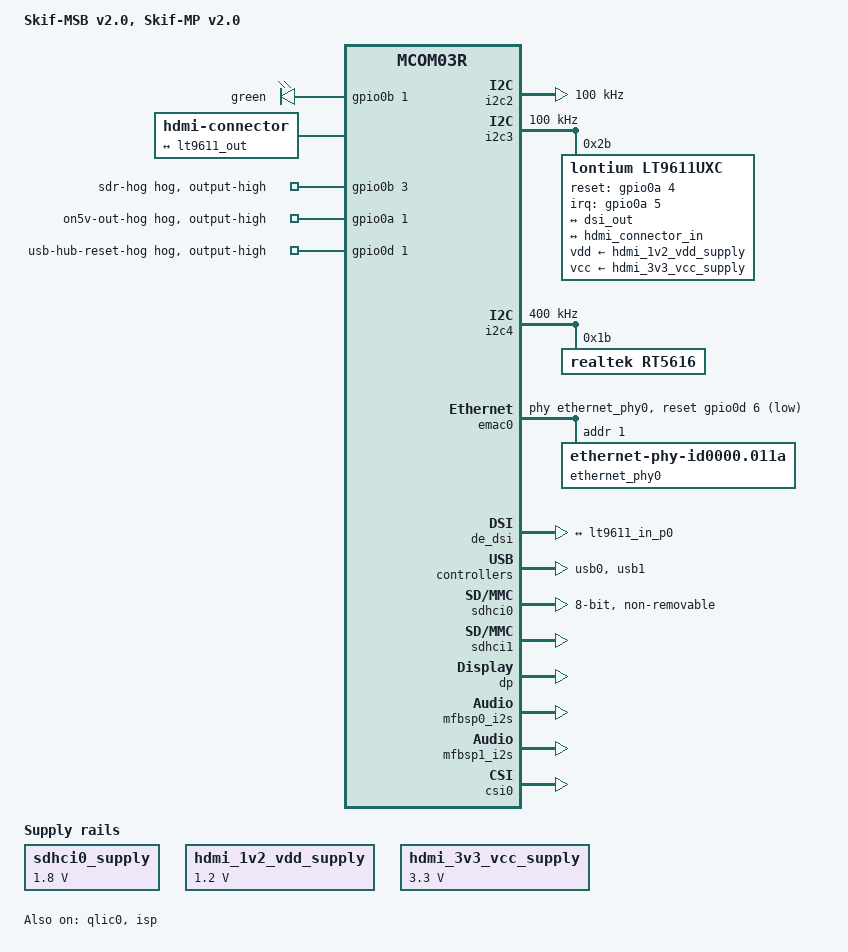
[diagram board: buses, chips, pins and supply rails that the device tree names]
// SPDX-License-Identifier: GPL-2.0+
// Copyright 2025 RnD Center "ELVEES", JSC

/dts-v1/;

#include "mcom03r-skifmsb-v2.0.dtsi"

/ {
	model = "Skif-MSB v2.0, Skif-MP v2.0";
	compatible = "elvees,skifmsb-v2.0-skifmp-v2.0",
		     "elvees,skifmsb-skifmp",
		     "elvees,skifmp-v2.0",
		     "elvees,skifmp",
		     "elvees,skifmsb-v2.0",
		     "elvees,skifmsb",
		     "elvees,mcom03r";

	leds {
		compatible = "gpio-leds";

		green {
			gpios = <&gpio0b 1 GPIO_ACTIVE_HIGH>;
			default-state = "on";
			linux,default-trigger = "heartbeat";
		};
	};

	sdhci0_supply: regulator@0 {
		compatible = "regulator-fixed";
		regulator-name = "sdhci0-supply";
		regulator-min-microvolt = <1800000>;
		regulator-max-microvolt = <1800000>;
		regulator-always-on;
	};

	hdmi_1v2_vdd_supply: regulator@01 {
		compatible = "regulator-fixed";
		regulator-name = "hdmi-vdd-1.2v";
		regulator-min-microvolt = <1200000>;
		regulator-max-microvolt = <1200000>;
		regulator-always-on;
	};

	hdmi_3v3_vcc_supply: regulator@02 {
		compatible = "regulator-fixed";
		regulator-name = "hdmi-vcc-3.3v";
		regulator-min-microvolt = <3300000>;
		regulator-max-microvolt = <3300000>;
		regulator-always-on;
	};

	hdmi_connector: hdmi-connector {
		compatible = "hdmi-connector";
		label = "hdmi";

		type = "a";

		port {
			hdmi_connector_in: endpoint {
				remote-endpoint = <&lt9611_out>;
			};
		};
	};

	hdmi_sound: hdmi-sound {
		compatible = "simple-audio-card";
		simple-audio-card,name = "hdmi-audio";
		simple-audio-card,format = "i2s";
		simple-audio-card,bitclock-master = <&dailink0_master>;
		simple-audio-card,frame-master = <&dailink0_master>;
		simple-audio-card,continuous-clock;

		dailink0_master: simple-audio-card,cpu {
			sound-dai = <&mfbsp0_i2s>;
		};

		simple-audio-card,codec {
			sound-dai = <&lt9611uxc>;
		};
	};

	analog_sound: analog-sound {
		compatible = "simple-audio-card";
		simple-audio-card,name = "analog-audio";
		simple-audio-card,format = "i2s";
		simple-audio-card,bitclock-master = <&dailink1_master>;
		simple-audio-card,frame-master = <&dailink1_master>;
		simple-audio-card,continuous-clock;
		simple-audio-card,widgets =
			"Microphone", "Microphone Jack",
			"Headphone", "Headphone Jack";
		simple-audio-card,routing =
			"MIC1", "Microphone Jack",
			"Microphone Jack", "micbias1",
			"Headphone Jack", "HPOL",
			"Headphone Jack", "HPOR";

		dailink1_master: simple-audio-card,cpu {
			sound-dai = <&mfbsp1_i2s>;
		};

		simple-audio-card,codec {
			sound-dai = <&rt5616>;
		};
	};
};

/* Enable CLKOUT for audio codec RT5616 */
&service_clocks {
	assigned-clocks = <&service_clocks CLK_SERVICE_UCG0_CLKOUT_EXT>;
	assigned-clock-rates = <12288000>;

	enabled-clocks = <CLK_SERVICE_UCG0_APB
			  CLK_SERVICE_UCG0_CORE
			  CLK_SERVICE_UCG0_QSPI0
			  CLK_SERVICE_UCG0_RISC0
			  CLK_SERVICE_UCG0_MAILBOX0
			  CLK_SERVICE_UCG0_PVTCTR
			  CLK_SERVICE_UCG0_TRNG
			  CLK_SERVICE_UCG0_QSPI0_EXT
			  CLK_SERVICE_UCG0_CLKOUT_EXT>;
};

/* Pin for voltage supply for SDR subsystem. */
&gpio0b {
	sdr-hog {
		gpio-hog;
		gpios = <3 GPIO_ACTIVE_HIGH>;
		output-high;
	};
};

/* Pin for voltage supply of 5V
 * on USB-hub, HDMI and green led.
 */
&gpio0a {
	on5v-out-hog {
		gpio-hog;
		gpios = <1 GPIO_ACTIVE_HIGH>;
		output-high;
	};
};

&gpio0d {
	usb-hub-reset-hog {
		gpio-hog;
		gpios = <1 GPIO_ACTIVE_HIGH>;
		output-high;
	};
};

&lsperiph0_pinctrl {
	pinctrl-names = "default";
	pinctrl-0 = <&gpios_bias_disable_cfg>;

	/* Pin B4 for device power management.
	 * For stable work need to disable bias.
	 */
	gpios_bias_disable_cfg: gpios-bias-disable-cfg {
		pins = "GPIOB_4";
		bias-disable;
	};

	hdmi_int: hdmi-int {
		pins = "GPIOA_5";
		bias-pull-up;
	};
};

&hsperiph_pinctrl {
	pinctrl-0 = <&hsperiph_misc_default &emac_v18>;
};

/* I2C for CSI */
&i2c2 {
	status = "okay";
	clock-frequency = <100000>;
};

&i2c3 {
	status = "okay";
	clock-frequency = <100000>;

	lt9611uxc: hdmi-bridge@2b {
		status = "okay";

		lontium,dsi-mode-video-burst;
		lontium,dsi-clock-non-continuous;

		compatible = "lontium,lt9611uxc";
		reg = <0x2b>;

		vdd-supply = <&hdmi_1v2_vdd_supply>;
		vcc-supply = <&hdmi_3v3_vcc_supply>;
		#sound-dai-cells = <0>;

		reset-gpios = <&gpio0a 4 GPIO_ACTIVE_HIGH>;
		interrupts-extended = <&gpio0a 5 IRQ_TYPE_EDGE_FALLING>;

		pinctrl-0 = <&hdmi_int>;
		pinctrl-names = "default";

		ports {
			#address-cells = <1>;
			#size-cells = <0>;

			port@0 {
				reg = <0>;
				lt9611_in_p0: endpoint {
					remote-endpoint = <&dsi_out>;
				};
			};

			port@2 {
				reg = <2>;
				lt9611_out: endpoint {
					remote-endpoint = <&hdmi_connector_in>;
				};
			};
		};
	};
};

&i2c4 {
	status = "okay";
	clock-frequency = <400000>;

	rt5616: rt5616@1b {
		#sound-dai-cells = <0>;
		compatible = "realtek,rt5616";
		reg = <0x1b>;
		rt,pll-src-bclk;
	};
};

&emac0 {
	status = "okay";
	phy-handle = <&ethernet_phy0>;
	reset-gpios = <&gpio0d 6 GPIO_ACTIVE_LOW>;

	ethernet_phy0: ethernet-phy@1 {
		compatible = "ethernet-phy-id0000.011a", "ethernet-phy-ieee802.3-c22";
		reg = <0x1>;

		motorcomm,clk-out-frequency-hz = <0>;
		rx-internal-delay-ps = <1800>;
		tx-internal-delay-ps = <1200>;
	};
};

&de_dsi {
	status = "okay";
	dsi-min-clock-frequency = <275000000>;

	ports {
		port@1 {
			reg = <1>;
			dsi_out: endpoint {
				remote-endpoint = <&lt9611_in_p0>;
			};
		};
	};
};

/* Connected to USB 3.0 Type-A */
&usb0 {
	status = "okay";
};

/* Connected to USB 2.0 hub */
&usb1 {
	status = "okay";
};

/* Connected to eMMC */
&sdhci0 {
	status = "okay";

	non-removable;
	bus-width = <8>;

	vqmmc-supply = <&sdhci0_supply>;

	/* eMMC is unstable on higher speeds */
	assigned-clocks = <&hsperiph_clocks CLK_HSP_UCG1_SDMMC0_XIN>;
	assigned-clock-rates = <93750000>;
};

/* Connected to MicroSD card */
&sdhci1 {
	status = "okay";

	/* Disable 1.8V support
	 * Disable SDR50, SDR104 and DDR50 support
	 */
	sdhci-caps-mask = <0x7 0x4000000>;
	sdhci-caps = <0x0 0x0>;

	disable-wp;
};

/* Board have video output interface */
&dp {
	status = "okay";
};

/* mfbsp interrupt controller */
&qlic0 {
	status = "okay";
};

&mfbsp0_i2s {
	status = "okay";
};

&mfbsp1_i2s {
	status = "okay";
};

&isp {
	status = "okay";
};

&csi0 {
	status = "okay";
	reset_gpio = <&gpio0a 3 GPIO_ACTIVE_HIGH>;
};
